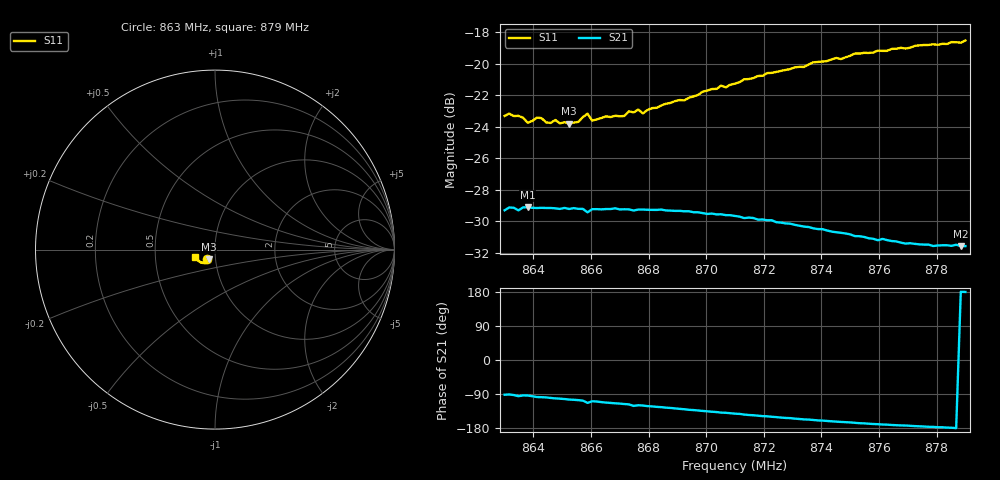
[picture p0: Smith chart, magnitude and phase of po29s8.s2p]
# HZ S RI R 50
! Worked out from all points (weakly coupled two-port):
!   101 points, 863 MHz to 879 MHz, reference 50 ohm
!   highest |S21| = -29.12 dB at 863.8 MHz (marker M1); lowest = -31.6 dB at 878.84 MHz (marker M2)
!   lowest |S11| = -23.8 dB at 865.24 MHz (marker M3), VSWR 1.14, Z = 46.3 - j5.02 ohm
!   |S11| at or under -10 dB: start of sweep to end of sweep
!   S12 and S22 are empty: the file has one direction only
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8.63e8  -0.0433 -0.0527  -0.000982 -0.0342  0 0  0 0
8.6316e8  -0.0457 -0.0523  -0.00053 -0.0349  0 0  0 0
8.6348e8  -0.0446 -0.0517  -0.00326 -0.034  0 0  0 0
8.638e8  -0.0379 -0.0527  -0.00224 -0.0349  0 0  0 0
8.6412e8  -0.0408 -0.0536  -0.00466 -0.0345  0 0  0 0
8.6444e8  -0.039 -0.0521  -0.00528 -0.0344  0 0  0 0
8.6476e8  -0.0376 -0.0545  -0.0068 -0.034  0 0  0 0
8.6524e8  -0.0352 -0.054  -0.00859 -0.0335  0 0  0 0
8.6556e8  -0.0353 -0.0549  -0.00949 -0.0333  0 0  0 0
8.6572e8  -0.0367 -0.0569  -0.0103 -0.033  0 0  0 0
8.6588e8  -0.0395 -0.057  -0.0133 -0.031  0 0  0 0
8.6604e8  -0.0342 -0.0564  -0.0112 -0.0326  0 0  0 0
8.6716e8  -0.0333 -0.0595  -0.0152 -0.0309  0 0  0 0
8.6732e8  -0.0342 -0.0617  -0.0157 -0.0307  0 0  0 0
8.6764e8  -0.0354 -0.0621  -0.0169 -0.03  0 0  0 0
8.678e8  -0.0337 -0.0608  -0.0173 -0.0298  0 0  0 0
8.6844e8  -0.0352 -0.0647  -0.0195 -0.0284  0 0  0 0
8.71e8  -0.0458 -0.0733  -0.0257 -0.0204  0 0  0 0
8.7372e8  -0.0674 -0.0751  -0.0279 -0.0111  0 0  0 0
8.7644e8  -0.0918 -0.063  -0.027 -0.00404  0 0  0 0
8.7884e8  -0.1088 -0.0416  -0.0263 3e-06  0 0  0 0
8.79e8  -0.1113 -0.0406  -0.0263 0.000202  0 0  0 0
